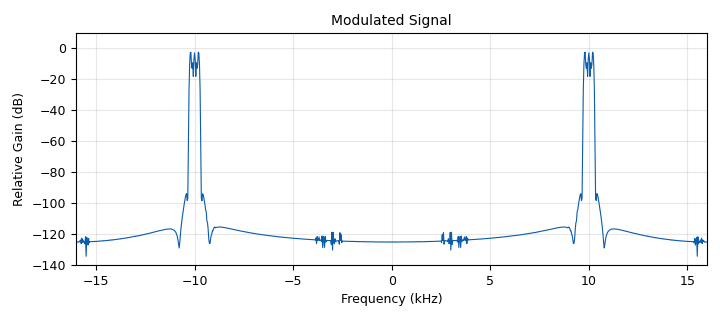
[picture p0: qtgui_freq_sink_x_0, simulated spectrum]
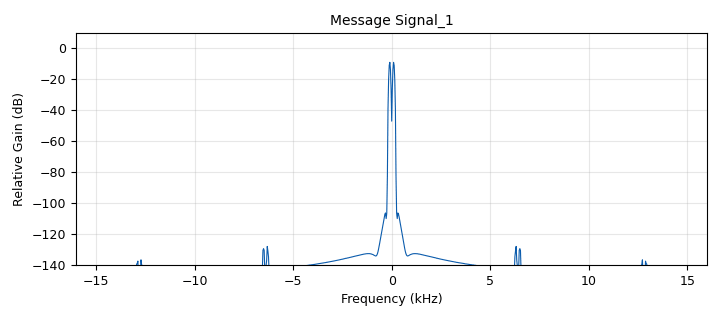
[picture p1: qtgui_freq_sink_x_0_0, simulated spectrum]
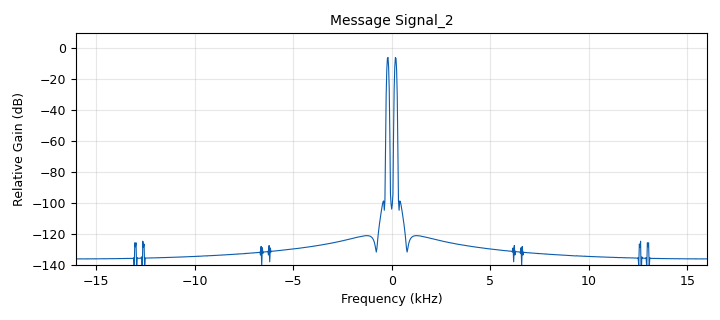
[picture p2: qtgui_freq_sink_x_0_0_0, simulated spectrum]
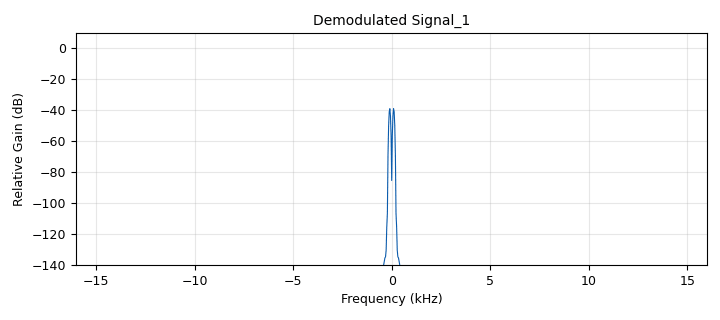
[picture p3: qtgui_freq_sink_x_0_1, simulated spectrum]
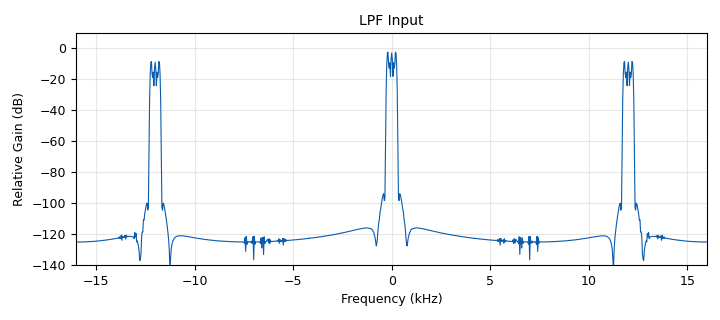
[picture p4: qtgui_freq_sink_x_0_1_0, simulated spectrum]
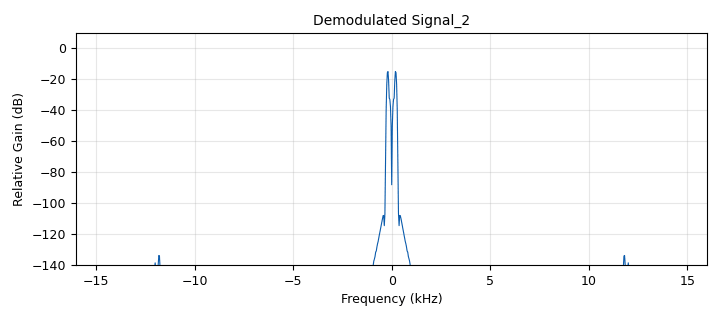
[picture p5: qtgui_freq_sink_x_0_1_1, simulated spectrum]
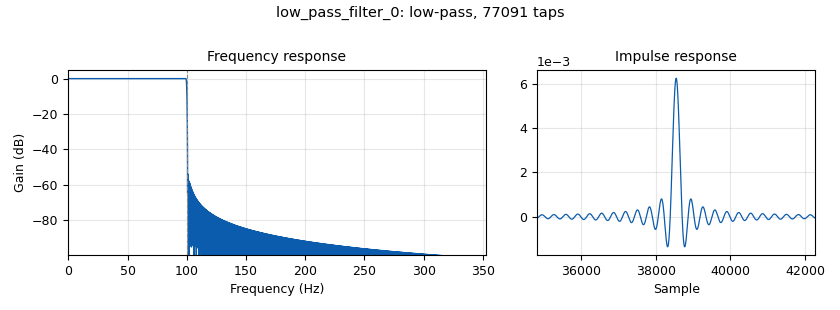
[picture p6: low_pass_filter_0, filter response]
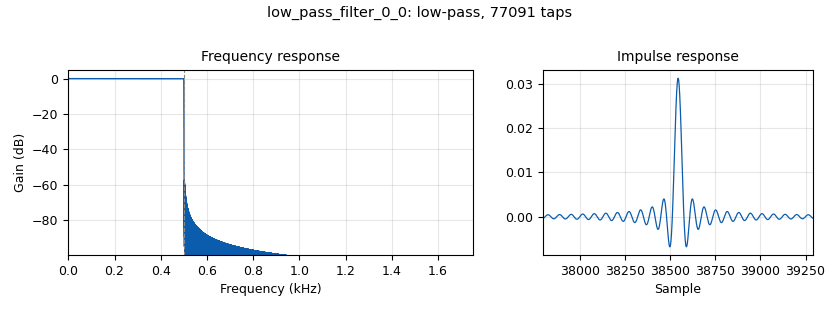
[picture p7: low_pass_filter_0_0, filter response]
options:
  parameters:
    author: shashank
    generate_options: qt_gui
    id: dsb_fc_multitone
    output_language: python
    title: dsb_fc_multitone
  states: {}

blocks:
- name: carrier_amp
  id: variable
  parameters:
    value: '4'
  states: {}
- name: fc
  id: variable
  parameters:
    value: '10000'
  states: {}
- name: msg_amp_1
  id: variable
  parameters:
    value: '2.0'
  states: {}
- name: msg_amp_2
  id: variable
  parameters:
    value: '3'
  states: {}
- name: mu_1
  id: variable
  parameters:
    value: msg_amp_1/carrier_amp
  states: {}
- name: mu_2
  id: variable
  parameters:
    value: msg_amp_2/carrier_amp
  states: {}
- name: samp_rate
  id: variable
  parameters:
    value: '32000'
  states: {}
- name: analog_const_source_x_0
  id: analog_const_source_x
  parameters:
    const: '1'
    type: float
  states: {}
- name: analog_const_source_x_1
  id: analog_const_source_x
  parameters:
    const: mu_2
    type: float
  states: {}
- name: analog_const_source_x_1_0
  id: analog_const_source_x
  parameters:
    const: mu_1
    type: float
  states: {}
- name: blocks_add_xx_0
  id: blocks_add_xx
  parameters:
    type: float
  states: {}
- name: blocks_add_xx_1
  id: blocks_add_xx
  parameters:
    type: float
  states: {}
- name: blocks_multiply_xx_0
  id: blocks_multiply_xx
  parameters:
    type: float
  states: {}
- name: blocks_multiply_xx_0_0
  id: blocks_multiply_xx
  parameters:
    type: float
  states: {}
- name: blocks_multiply_xx_1
  id: blocks_multiply_xx
  parameters:
    type: float
  states: {}
- name: blocks_multiply_xx_2
  id: blocks_multiply_xx
  parameters:
    type: float
  states: {}
- name: blocks_throttle_0
  id: blocks_throttle
  parameters:
    samples_per_second: samp_rate
    type: float
  states: {}
- name: carrierSignal
  id: analog_sig_source_x
  parameters:
    amp: carrier_amp
    freq: fc
    offset: '0'
    phase: '0'
    samp_rate: samp_rate
    type: float
    waveform: analog.GR_COS_WAVE
  states: {}
- name: carrierSignal_0
  id: analog_sig_source_x
  parameters:
    amp: '1'
    freq: fc
    offset: '0'
    phase: '0'
    samp_rate: samp_rate
    type: float
    waveform: analog.GR_COS_WAVE
  states: {}
- name: dc_blocker_xx_0
  id: dc_blocker_xx
  parameters:
    length: '32'
    long_form: 'True'
    type: ff
  states: {}
- name: dc_blocker_xx_0_0
  id: dc_blocker_xx
  parameters:
    length: '32'
    long_form: 'True'
    type: ff
  states: {}
- name: low_pass_filter_0
  id: low_pass_filter
  parameters:
    cutoff_freq: '100'
    decim: '1'
    gain: '1'
    samp_rate: samp_rate
    type: fir_filter_fff
    width: '1'
    win: firdes.WIN_HAMMING
  states: {}
- name: low_pass_filter_0_0
  id: low_pass_filter
  parameters:
    cutoff_freq: '500'
    decim: '1'
    gain: '1'
    samp_rate: samp_rate
    type: fir_filter_fff
    width: '1'
    win: firdes.WIN_HAMMING
  states: {}
- name: messageSignal
  id: analog_sig_source_x
  parameters:
    amp: msg_amp_1
    freq: '100'
    offset: '0'
    phase: '0'
    samp_rate: samp_rate
    type: float
    waveform: analog.GR_COS_WAVE
  states: {}
- name: messageSignal_0
  id: analog_sig_source_x
  parameters:
    amp: msg_amp_2
    freq: '200'
    offset: '0'
    phase: '0'
    samp_rate: samp_rate
    type: float
    waveform: analog.GR_COS_WAVE
  states: {}
- name: qtgui_freq_sink_x_0
  id: qtgui_freq_sink_x
  parameters:
    bw: samp_rate
    ctrlpanel: 'True'
    fc: '0'
    fftsize: '1024'
    name: '"Modulated Signal"'
    showports: 'True'
    type: float
    wintype: firdes.WIN_BLACKMAN_hARRIS
  states: {}
- name: qtgui_freq_sink_x_0_0
  id: qtgui_freq_sink_x
  parameters:
    bw: samp_rate
    ctrlpanel: 'True'
    fc: '0'
    fftsize: '1024'
    name: '"Message Signal_1"'
    showports: 'True'
    type: float
    wintype: firdes.WIN_BLACKMAN_hARRIS
  states: {}
- name: qtgui_freq_sink_x_0_0_0
  id: qtgui_freq_sink_x
  parameters:
    bw: samp_rate
    ctrlpanel: 'True'
    fc: '0'
    fftsize: '1024'
    name: '"Message Signal_2"'
    showports: 'True'
    type: float
    wintype: firdes.WIN_BLACKMAN_hARRIS
  states: {}
- name: qtgui_freq_sink_x_0_1
  id: qtgui_freq_sink_x
  parameters:
    bw: samp_rate
    ctrlpanel: 'True'
    fc: '0'
    fftsize: '1024'
    name: '"Demodulated Signal_1"'
    showports: 'True'
    type: float
    wintype: firdes.WIN_BLACKMAN_hARRIS
  states: {}
- name: qtgui_freq_sink_x_0_1_0
  id: qtgui_freq_sink_x
  parameters:
    bw: samp_rate
    ctrlpanel: 'True'
    fc: '0'
    fftsize: '1024'
    name: '"LPF Input"'
    showports: 'True'
    type: float
    wintype: firdes.WIN_BLACKMAN_hARRIS
  states: {}
- name: qtgui_freq_sink_x_0_1_1
  id: qtgui_freq_sink_x
  parameters:
    bw: samp_rate
    ctrlpanel: 'True'
    fc: '0'
    fftsize: '1024'
    name: '"Demodulated Signal_2"'
    showports: 'True'
    type: float
    wintype: firdes.WIN_BLACKMAN_hARRIS
  states: {}
- name: qtgui_time_sink_x_0
  id: qtgui_time_sink_x
  parameters:
    autoscale: 'True'
    ctrlpanel: 'True'
    grid: 'True'
    label1: ''
    name: '"Modulated Signal"'
    size: '1024'
    srate: samp_rate
    type: float
  states: {}
- name: qtgui_time_sink_x_0_0
  id: qtgui_time_sink_x
  parameters:
    autoscale: 'True'
    ctrlpanel: 'True'
    grid: 'True'
    label1: ''
    name: '"Demodulated Signal_1"'
    size: '1024'
    srate: samp_rate
    type: float
  states: {}
- name: qtgui_time_sink_x_0_0_0
  id: qtgui_time_sink_x
  parameters:
    autoscale: 'True'
    ctrlpanel: 'True'
    grid: 'True'
    label1: ''
    name: '"Demodulated Signal_2"'
    size: '1024'
    srate: samp_rate
    type: float
  states: {}
- name: qtgui_time_sink_x_0_1
  id: qtgui_time_sink_x
  parameters:
    autoscale: 'True'
    ctrlpanel: 'True'
    grid: 'True'
    label1: ''
    name: '"Message Signal_1"'
    size: '1024'
    srate: samp_rate
    type: float
  states: {}
- name: qtgui_time_sink_x_0_1_0
  id: qtgui_time_sink_x
  parameters:
    autoscale: 'True'
    ctrlpanel: 'True'
    grid: 'True'
    label1: ''
    name: '"Message Signal_2"'
    size: '1024'
    srate: samp_rate
    type: float
  states: {}

connections:
- [analog_const_source_x_0, '0', blocks_add_xx_0, '0']
- [analog_const_source_x_1, '0', blocks_multiply_xx_0_0, '0']
- [analog_const_source_x_1_0, '0', blocks_multiply_xx_0, '0']
- [blocks_add_xx_0, '0', blocks_multiply_xx_1, '0']
- [blocks_add_xx_1, '0', blocks_add_xx_0, '1']
- [blocks_multiply_xx_0, '0', blocks_add_xx_1, '0']
- [blocks_multiply_xx_0_0, '0', blocks_add_xx_1, '1']
- [blocks_multiply_xx_1, '0', blocks_throttle_0, '0']
- [blocks_multiply_xx_2, '0', low_pass_filter_0, '0']
- [blocks_multiply_xx_2, '0', low_pass_filter_0_0, '0']
- [blocks_multiply_xx_2, '0', qtgui_freq_sink_x_0_1_0, '0']
- [blocks_throttle_0, '0', blocks_multiply_xx_2, '0']
- [blocks_throttle_0, '0', qtgui_freq_sink_x_0, '0']
- [blocks_throttle_0, '0', qtgui_time_sink_x_0, '0']
- [carrierSignal, '0', blocks_multiply_xx_1, '1']
- [carrierSignal_0, '0', blocks_multiply_xx_2, '1']
- [dc_blocker_xx_0, '0', qtgui_freq_sink_x_0_1, '0']
- [dc_blocker_xx_0, '0', qtgui_time_sink_x_0_0, '0']
- [dc_blocker_xx_0_0, '0', qtgui_freq_sink_x_0_1_1, '0']
- [dc_blocker_xx_0_0, '0', qtgui_time_sink_x_0_0_0, '0']
- [low_pass_filter_0, '0', dc_blocker_xx_0, '0']
- [low_pass_filter_0_0, '0', dc_blocker_xx_0_0, '0']
- [messageSignal, '0', blocks_multiply_xx_0, '1']
- [messageSignal, '0', qtgui_freq_sink_x_0_0, '0']
- [messageSignal, '0', qtgui_time_sink_x_0_1, '0']
- [messageSignal_0, '0', blocks_multiply_xx_0_0, '1']
- [messageSignal_0, '0', qtgui_freq_sink_x_0_0_0, '0']
- [messageSignal_0, '0', qtgui_time_sink_x_0_1_0, '0']

metadata:
  file_format: 1
